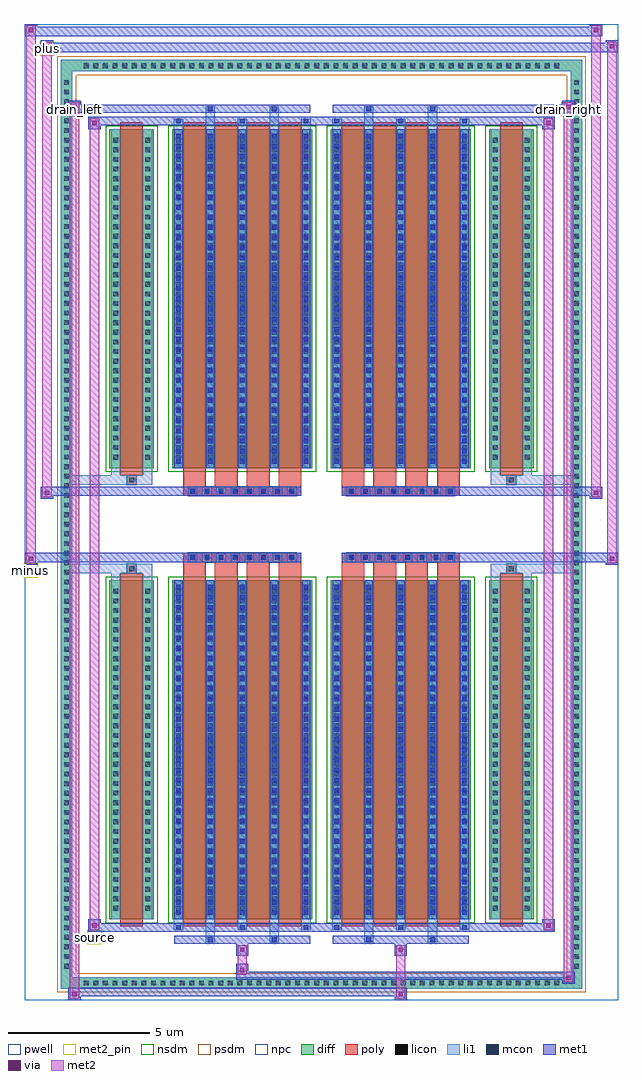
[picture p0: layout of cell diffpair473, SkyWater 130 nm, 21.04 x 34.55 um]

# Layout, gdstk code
import gdstk
lib = gdstk.Library(unit=1e-6, precision=5e-09)
def R(c, l, rs):  # rectangles x0, y0, x1, y1
    for r in rs: c.add(gdstk.rectangle(r[:2], r[2:], *l))
def A(c, l, x, y, w, h, nx, ny, dx, dy):  # array of equal rectangles
    R(c, l, [(x+i*dx, y+j*dy, x+i*dx+w, y+j*dy+h) for i in range(nx) for j in range(ny)])
def P(c, l, *ps):  # polygons
    for p in ps: c.add(gdstk.Polygon(p, *l))
pwell = (64, 44)
diff = (65, 20)
poly = (66, 20)
licon = (66, 44)
li1 = (67, 20)
mcon = (67, 44)
met1 = (68, 20)
via = (68, 44)
met2_pin = (69, 16)
met2 = (69, 20)
nsdm = (93, 44)
psdm = (94, 20)
npc = (95, 20)

diffpair473 = lib.new_cell('diffpair473')
R(diffpair473, pwell, [(-10.5,-16.84,10.5,17.71), (-7.82,-15.03,-0.01,-0.805), (0.01,-15.03,7.82,-0.805), (-7.82,0.805,-0.01,15.03), (0.01,0.805,7.82,15.03)])
A(diffpair473, diff, -8.535, -16.44, 0.41, 0.41, 50, 2, 0.34, 32.47)
A(diffpair473, diff, -9.23, -15.845, 0.41, 0.41, 1, 93, 0, 0.34)
A(diffpair473, diff, 8.82, -15.845, 0.41, 0.41, 1, 93, 0, 0.34)
R(diffpair473, diff, [(-8.535,-16.44,8.535,-16.03), (-9.23,-15.845,-8.82,15.845), (8.82,-15.845,9.23,15.845), (-7.51,-13.985,-5.93,-1.985), (-5.29,-13.985,-0.32,-1.985), (0.32,-13.985,5.29,-1.985), (5.93,-13.985,7.51,-1.985), (-7.51,1.985,-5.93,13.985), (-5.29,1.985,-0.32,13.985), (0.32,1.985,5.29,13.985), (5.93,1.985,7.51,13.985), (-8.535,16.03,8.535,16.44)])
P(diffpair473, diff, [(9.23,16.44),(-9.23,16.44),(-9.23,-16.03),(-8.82,-16.03),(-8.82,16.03),(8.82,16.03),(8.82,-16.03),(-8.82,-16.03),(-9.23,-16.03),(-9.23,-16.44),(9.23,-16.44)])
A(diffpair473, poly, -4.9, -14.235, 0.8, 12.5, 4, 2, 1.13, 15.97)
A(diffpair473, poly, 0.71, -14.235, 0.8, 12.5, 4, 2, 1.13, 15.97)
A(diffpair473, poly, -4.9, -1.735, 0.8, 0.4, 4, 2, 1.13, 3.07)
A(diffpair473, poly, 0.71, -1.735, 0.8, 0.4, 4, 2, 1.13, 3.07)
A(diffpair473, poly, -4.72, -1.335, 0.33, 0.33, 8, 2, 0.5, 2.34)
A(diffpair473, poly, 0.89, -1.335, 0.33, 0.33, 8, 2, 0.5, 2.34)
R(diffpair473, poly, [(-7.12,-14.235,-6.32,-1.735), (6.32,-14.235,7.12,-1.735), (-6.885,-1.735,-6.555,-1.405), (-6.885,-1.735,-6.555,-1.405), (6.555,-1.735,6.885,-1.405), (6.555,-1.735,6.885,-1.405), (-4.9,-1.335,-0.71,-1.005), (0.71,-1.335,4.9,-1.005), (-4.9,1.005,-0.71,1.335), (0.71,1.005,4.9,1.335), (-6.885,1.405,-6.555,1.735), (-6.885,1.405,-6.555,1.735), (6.555,1.405,6.885,1.735), (6.555,1.405,6.885,1.735), (-7.12,1.735,-6.32,14.235), (6.32,1.735,7.12,14.235)])
A(diffpair473, licon, -8.415, -16.32, 0.17, 0.17, 50, 2, 0.34, 32.47)
A(diffpair473, licon, -9.11, -15.725, 0.17, 0.17, 1, 93, 0, 0.34)
A(diffpair473, licon, 8.94, -15.725, 0.17, 0.17, 1, 93, 0, 0.34)
A(diffpair473, licon, -7.37, -13.68, 0.17, 0.17, 1, 34, 0, 0.34)
A(diffpair473, licon, -6.24, -13.68, 0.17, 0.17, 1, 34, 0, 0.34)
A(diffpair473, licon, -5.15, -13.68, 0.17, 0.17, 5, 34, 1.13, 0.34)
A(diffpair473, licon, 0.46, -13.68, 0.17, 0.17, 5, 34, 1.13, 0.34)
A(diffpair473, licon, 6.07, -13.68, 0.17, 0.17, 1, 34, 0, 0.34)
A(diffpair473, licon, 7.2, -13.68, 0.17, 0.17, 1, 34, 0, 0.34)
A(diffpair473, licon, -4.64, -1.255, 0.17, 0.17, 8, 2, 0.5, 2.34)
A(diffpair473, licon, 0.97, -1.255, 0.17, 0.17, 8, 2, 0.5, 2.34)
A(diffpair473, licon, -7.37, 2.29, 0.17, 0.17, 1, 34, 0, 0.34)
A(diffpair473, licon, -6.24, 2.29, 0.17, 0.17, 1, 34, 0, 0.34)
A(diffpair473, licon, -5.15, 2.29, 0.17, 0.17, 5, 34, 1.13, 0.34)
A(diffpair473, licon, 0.46, 2.29, 0.17, 0.17, 5, 34, 1.13, 0.34)
A(diffpair473, licon, 6.07, 2.29, 0.17, 0.17, 1, 34, 0, 0.34)
A(diffpair473, licon, 7.2, 2.29, 0.17, 0.17, 1, 34, 0, 0.34)
R(diffpair473, licon, [(-6.805,-1.655,-6.635,-1.485), (6.635,-1.655,6.805,-1.485), (-6.805,1.485,-6.635,1.655), (6.635,1.485,6.805,1.655)])
A(diffpair473, li1, -8.495, -16.4, 0.33, 0.33, 50, 2, 0.34, 32.47)
A(diffpair473, li1, -9.19, -15.805, 0.33, 0.33, 1, 93, 0, 0.34)
A(diffpair473, li1, 8.86, -15.805, 0.33, 0.33, 1, 93, 0, 0.34)
A(diffpair473, li1, -5.23, -14.36, 0.33, 0.375, 3, 2, 2.26, 28.345)
A(diffpair473, li1, -5.15, -14.36, 0.17, 0.17, 3, 2, 2.26, 28.55)
A(diffpair473, li1, 0.38, -14.36, 0.33, 0.375, 3, 2, 2.26, 28.345)
A(diffpair473, li1, 0.46, -14.36, 0.17, 0.17, 3, 2, 2.26, 28.55)
A(diffpair473, li1, -5.23, -13.985, 0.33, 12, 5, 2, 1.13, 15.97)
A(diffpair473, li1, 0.38, -13.985, 0.33, 12, 5, 2, 1.13, 15.97)
A(diffpair473, li1, -5.15, -13.83, 0.17, 0.17, 5, 33, 1.13, 0.36)
A(diffpair473, li1, -5.15, -13.83, 0.17, 11.69, 5, 2, 1.13, 15.97)
A(diffpair473, li1, 0.46, -13.83, 0.17, 0.17, 5, 33, 1.13, 0.36)
A(diffpair473, li1, 0.46, -13.83, 0.17, 11.69, 5, 2, 1.13, 15.97)
A(diffpair473, li1, -7.45, -13.76, 0.33, 0.33, 1, 34, 0, 0.34)
A(diffpair473, li1, -6.32, -13.76, 0.33, 0.33, 1, 34, 0, 0.34)
A(diffpair473, li1, -5.23, -13.76, 0.33, 0.33, 5, 34, 1.13, 0.34)
A(diffpair473, li1, 0.38, -13.76, 0.33, 0.33, 5, 34, 1.13, 0.34)
A(diffpair473, li1, 5.99, -13.76, 0.33, 0.33, 1, 34, 0, 0.34)
A(diffpair473, li1, 7.12, -13.76, 0.33, 0.33, 1, 34, 0, 0.34)
A(diffpair473, li1, -4.72, -1.335, 0.33, 0.33, 8, 2, 0.5, 2.34)
A(diffpair473, li1, 0.89, -1.335, 0.33, 0.33, 8, 2, 0.5, 2.34)
A(diffpair473, li1, -5.15, 2.14, 0.17, 0.17, 5, 33, 1.13, 0.36)
A(diffpair473, li1, 0.46, 2.14, 0.17, 0.17, 5, 33, 1.13, 0.36)
A(diffpair473, li1, -7.45, 2.21, 0.33, 0.33, 1, 34, 0, 0.34)
A(diffpair473, li1, -6.32, 2.21, 0.33, 0.33, 1, 34, 0, 0.34)
A(diffpair473, li1, -5.23, 2.21, 0.33, 0.33, 5, 34, 1.13, 0.34)
A(diffpair473, li1, 0.38, 2.21, 0.33, 0.33, 5, 34, 1.13, 0.34)
A(diffpair473, li1, 5.99, 2.21, 0.33, 0.33, 1, 34, 0, 0.34)
A(diffpair473, li1, 7.12, 2.21, 0.33, 0.33, 1, 34, 0, 0.34)
R(diffpair473, li1, [(-9.23,-16.44,-8.82,-16.03), (-9.23,-16.44,-8.82,-16.03), (-8.82,-16.44,8.82,-16.03), (8.82,-16.44,9.23,-16.03), (8.82,-16.44,9.23,-16.03), (-9.23,-16.03,-8.82,16.03), (8.82,-16.03,9.23,16.03), (-4.1,-14.79,-3.77,-13.985), (-4.02,-14.79,-3.85,-14.62), (-1.84,-14.79,-1.51,-13.985), (-1.76,-14.79,-1.59,-14.62), (1.51,-14.79,1.84,-13.985), (1.59,-14.79,1.76,-14.62), (3.77,-14.79,4.1,-13.985), (3.85,-14.79,4.02,-14.62), (-7.45,-13.985,-7.12,-1.985), (-6.32,-13.985,-5.99,-1.985), (5.99,-13.985,6.32,-1.985), (7.12,-13.985,7.45,-1.985), (-7.45,-1.985,-7.12,-1.405), (-6.32,-1.985,-5.99,-1.405), (5.99,-1.985,6.32,-1.405), (7.12,-1.985,7.45,-1.405), (-9.23,-1.735,-6.885,-1.405), (-7.45,-1.735,-6.885,-1.405), (-6.885,-1.735,-6.555,-1.405), (-6.555,-1.735,-5.99,-1.405), (5.99,-1.735,6.555,-1.405), (6.555,-1.735,6.885,-1.405), (6.555,-1.735,9.23,-1.405), (6.885,-1.735,7.45,-1.405), (-9.23,1.405,-6.885,1.735), (-7.45,1.405,-6.885,1.735), (-7.45,1.405,-7.12,1.985), (-6.885,1.405,-6.555,1.735), (-6.555,1.405,-5.99,1.735), (-6.32,1.405,-5.99,1.985), (5.99,1.405,6.555,1.735), (5.99,1.405,6.32,1.985), (6.555,1.405,6.885,1.735), (6.555,1.405,9.23,1.735), (6.885,1.405,7.45,1.735), (7.12,1.405,7.45,1.985), (-7.45,1.985,-7.12,13.985), (-6.32,1.985,-5.99,13.985), (5.99,1.985,6.32,13.985), (7.12,1.985,7.45,13.985), (-4.1,13.985,-3.77,14.79), (-1.84,13.985,-1.51,14.79), (1.51,13.985,1.84,14.79), (3.77,13.985,4.1,14.79), (-4.02,14.62,-3.85,14.79), (-1.76,14.62,-1.59,14.79), (1.59,14.62,1.76,14.79), (3.85,14.62,4.02,14.79), (-9.23,16.03,-8.82,16.44), (-9.23,16.03,-8.82,16.44), (-8.82,16.03,8.82,16.44), (8.82,16.03,9.23,16.44), (8.82,16.03,9.23,16.44)])
A(diffpair473, mcon, -5.15, -14.36, 0.17, 0.17, 3, 2, 2.26, 28.55)
A(diffpair473, mcon, 0.46, -14.36, 0.17, 0.17, 3, 2, 2.26, 28.55)
A(diffpair473, mcon, -5.15, -13.83, 0.17, 0.17, 5, 33, 1.13, 0.36)
A(diffpair473, mcon, 0.46, -13.83, 0.17, 0.17, 5, 33, 1.13, 0.36)
A(diffpair473, mcon, -4.64, -1.255, 0.17, 0.17, 8, 2, 0.5, 2.34)
A(diffpair473, mcon, 0.97, -1.255, 0.17, 0.17, 8, 2, 0.5, 2.34)
A(diffpair473, mcon, -5.15, 2.14, 0.17, 0.17, 5, 33, 1.13, 0.36)
A(diffpair473, mcon, 0.46, 2.14, 0.17, 0.17, 5, 33, 1.13, 0.36)
R(diffpair473, mcon, [(-4.02,-14.79,-3.85,-14.62), (-1.76,-14.79,-1.59,-14.62), (1.59,-14.79,1.76,-14.62), (3.85,-14.79,4.02,-14.62), (-4.02,14.62,-3.85,14.79), (-1.76,14.62,-1.59,14.79), (1.59,14.62,1.76,14.79), (3.85,14.62,4.02,14.79)])
A(diffpair473, met1, -5.21, -14.42, 0.29, 0.29, 3, 2, 2.26, 28.55)
A(diffpair473, met1, 0.4, -14.42, 0.29, 0.29, 3, 2, 2.26, 28.55)
A(diffpair473, met1, -5.21, -13.985, 0.29, 12, 5, 2, 1.13, 15.97)
A(diffpair473, met1, 0.4, -13.985, 0.29, 12, 5, 2, 1.13, 15.97)
A(diffpair473, met1, -5.21, -13.89, 0.29, 0.29, 5, 33, 1.13, 0.36)
A(diffpair473, met1, 0.4, -13.89, 0.29, 0.29, 5, 33, 1.13, 0.36)
A(diffpair473, met1, -4.7, -1.315, 0.29, 0.29, 8, 2, 0.5, 2.34)
A(diffpair473, met1, 0.91, -1.315, 0.29, 0.29, 8, 2, 0.5, 2.34)
A(diffpair473, met1, -5.21, 2.08, 0.29, 0.29, 5, 33, 1.13, 0.36)
A(diffpair473, met1, 0.4, 2.08, 0.29, 0.29, 5, 33, 1.13, 0.36)
R(diffpair473, met1, [(-8.96,-16.84,-8.53,-16.41), (2.59,-16.84,3.02,-16.41), (-8.96,-16.7,3.02,-16.41), (8.53,-16.27,8.96,-15.84), (-3.02,-16.13,8.96,-15.84), (-3.02,-15.99,-2.59,-15.56), (-3.02,-15.28,-2.59,-14.85), (2.59,-15.28,3.02,-14.85), (-5.21,-14.85,-0.4,-14.56), (-4.08,-14.85,-3.79,-14.56), (-1.82,-14.85,-1.53,-14.56), (0.4,-14.85,5.21,-14.56), (1.53,-14.85,1.82,-14.56), (3.79,-14.85,4.08,-14.56), (-8.25,-14.42,-7.82,-13.99), (-8.25,-14.42,-5.21,-14.13), (-5.21,-14.42,-0.4,-14.13), (-0.4,-14.42,0.4,-14.13), (0.4,-14.42,5.21,-14.13), (5.21,-14.42,8.25,-14.13), (7.82,-14.42,8.25,-13.99), (-10.5,-1.435,-10.07,-1.005), (10.07,-1.435,10.5,-1.005), (-10.5,-1.335,-0.71,-1.005), (-4.9,-1.335,-0.71,-1.005), (0.71,-1.335,4.9,-1.005), (0.71,-1.335,10.5,-1.005), (-9.93,0.905,-9.5,1.335), (9.5,0.905,9.93,1.335), (-9.93,1.005,-4.9,1.335), (-4.9,1.005,-0.71,1.335), (0.71,1.005,4.9,1.335), (4.9,1.005,9.93,1.335), (-8.25,13.99,-7.82,14.42), (7.82,13.99,8.25,14.42), (-8.25,14.13,-5.21,14.42), (-5.21,14.13,-0.4,14.42), (-0.4,14.13,0.4,14.42), (0.4,14.13,5.21,14.42), (5.21,14.13,8.25,14.42), (-8.96,14.56,-8.53,14.99), (-8.96,14.56,-5.21,14.85), (-5.21,14.56,-0.4,14.85), (-4.08,14.56,-3.79,14.85), (-1.82,14.56,-1.53,14.85), (0.4,14.56,5.21,14.85), (1.53,14.56,1.82,14.85), (3.79,14.56,4.08,14.85), (5.21,14.56,8.96,14.85), (8.53,14.56,8.96,14.99), (-9.93,16.71,-9.5,17.14), (-9.93,16.71,-7.82,17.04), (-7.82,16.71,7.82,17.04), (7.82,16.71,10.5,17.04), (10.07,16.71,10.5,17.14), (-10.5,17.28,-10.07,17.71), (-10.5,17.28,-7.82,17.61), (-7.82,17.28,7.82,17.61), (7.82,17.28,9.93,17.61), (9.5,17.28,9.93,17.71)])
R(diffpair473, via, [(-8.82,-16.7,-8.67,-16.55), (2.73,-16.7,2.88,-16.55), (8.67,-16.13,8.82,-15.98), (-2.88,-15.85,-2.73,-15.7), (-2.88,-15.14,-2.73,-14.99), (2.73,-15.14,2.88,-14.99), (-8.11,-14.28,-7.96,-14.13), (7.96,-14.28,8.11,-14.13), (-10.36,-1.295,-10.21,-1.145), (10.21,-1.295,10.36,-1.145), (-9.79,1.045,-9.64,1.195), (9.64,1.045,9.79,1.195), (-8.11,14.13,-7.96,14.28), (7.96,14.13,8.11,14.28), (-8.82,14.7,-8.67,14.85), (8.67,14.7,8.82,14.85), (-9.79,16.85,-9.64,17), (10.21,16.85,10.36,17), (-10.36,17.42,-10.21,17.57), (9.64,17.42,9.79,17.57)])
R(diffpair473, met2_pin, [(-8.285,-14.87,-7.785,-14.37), (-10.535,-1.885,-10.035,-1.385), (-8.995,14.44,-8.495,14.94), (8.495,14.44,8.995,14.94), (-9.965,16.59,-9.465,17.09)])
R(diffpair473, met2, [(-8.91,-16.79,-8.58,-16.46), (-8.91,-16.79,-8.58,14.94), (2.64,-16.79,2.97,-16.46), (2.64,-16.46,2.97,-15.23), (8.58,-16.22,8.91,-15.89), (8.58,-16.22,8.91,14.94), (-2.97,-15.94,-2.64,-15.61), (-2.97,-15.61,-2.64,-15.23), (-2.97,-15.23,-2.64,-14.9), (2.64,-15.23,2.97,-14.9), (-8.2,-14.37,-7.87,-14.04), (-8.2,-14.37,-7.87,14.37), (7.87,-14.37,8.2,-14.04), (7.87,-14.37,8.2,14.37), (-10.45,-1.385,-10.12,-1.055), (-10.45,-1.385,-10.12,17.66), (10.12,-1.385,10.45,-1.055), (10.12,-1.385,10.45,17.09), (-9.88,0.955,-9.55,1.285), (-9.88,0.955,-9.55,17.09), (9.55,0.955,9.88,1.285), (9.55,0.955,9.88,17.66), (-8.2,14.04,-7.87,14.37), (7.87,14.04,8.2,14.37), (-8.91,14.61,-8.58,14.94), (8.58,14.61,8.91,14.94), (-9.88,16.76,-9.55,17.09), (10.12,16.76,10.45,17.09), (-10.45,17.33,-10.12,17.66), (9.55,17.33,9.88,17.66)])
P(diffpair473, met2, [(10.45,-1.385),(10.45,-1.385),(10.45,-1.055),(10.45,-1.055)],
  [(10.45,16.76),(10.45,16.76),(10.45,17.09),(10.45,17.09)],
  [(-10.12,-1.385),(-10.12,-1.385),(-10.12,-1.055),(-10.12,-1.055)],
  [(-10.12,17.33),(-10.12,17.33),(-10.12,17.66),(-10.12,17.66)],
  [(9.88,0.955),(9.88,0.955),(9.88,1.285),(9.88,1.285)],
  [(9.88,17.33),(9.88,17.33),(9.88,17.66),(9.88,17.66)],
  [(-9.55,0.955),(-9.55,0.955),(-9.55,1.285),(-9.55,1.285)],
  [(-9.55,16.76),(-9.55,16.76),(-9.55,17.09),(-9.55,17.09)],
  [(-8.58,-16.79),(-8.58,-16.79),(-8.58,-16.46),(-8.58,-16.46)],
  [(-8.58,14.61),(-8.58,14.61),(-8.58,14.94),(-8.58,14.94)],
  [(8.91,-16.22),(8.91,-16.22),(8.91,-15.89),(8.91,-15.89)],
  [(8.91,14.61),(8.91,14.61),(8.91,14.94),(8.91,14.94)],
  [(-7.87,-14.37),(-7.87,-14.37),(-7.87,-14.04),(-7.87,-14.04)],
  [(-7.87,14.04),(-7.87,14.04),(-7.87,14.37),(-7.87,14.37)],
  [(8.2,-14.37),(8.2,-14.37),(8.2,-14.04),(8.2,-14.04)],
  [(8.2,14.04),(8.2,14.04),(8.2,14.37),(8.2,14.37)])
R(diffpair473, nsdm, [(-7.64,-14.115,-5.8,-1.855), (-5.42,-14.115,-0.19,-1.855), (0.19,-14.115,5.42,-1.855), (5.8,-14.115,7.64,-1.855), (-7.64,1.855,-5.8,14.115), (-5.42,1.855,-0.19,14.115), (0.19,1.855,5.42,14.115), (5.8,1.855,7.64,14.115)])
P(diffpair473, psdm, [(9.36,16.57),(-9.36,16.57),(-9.36,-15.9),(-8.69,-15.9),(-8.69,15.9),(8.69,15.9),(8.69,-15.9),(-8.69,-15.9),(-9.36,-15.9),(-9.36,-16.57),(9.36,-16.57)])
A(diffpair473, npc, -4.74, -1.355, 0.37, 0.37, 8, 2, 0.5, 2.34)
A(diffpair473, npc, 0.87, -1.355, 0.37, 0.37, 8, 2, 0.5, 2.34)
R(diffpair473, npc, [(-6.905,-1.755,-6.535,-1.385), (6.535,-1.755,6.905,-1.385), (-4.74,-1.355,-3.87,-0.985), (-4.74,-1.355,-3.87,-0.985), (-4.24,-1.355,-3.37,-0.985), (-4.24,-1.355,-3.37,-0.985), (-3.74,-1.355,-2.87,-0.985), (-3.74,-1.355,-2.87,-0.985), (-3.24,-1.355,-2.37,-0.985), (-3.24,-1.355,-2.37,-0.985), (-2.74,-1.355,-1.87,-0.985), (-2.74,-1.355,-1.87,-0.985), (-2.24,-1.355,-1.37,-0.985), (-2.24,-1.355,-1.37,-0.985), (-1.74,-1.355,-0.87,-0.985), (-1.74,-1.355,-0.87,-0.985), (0.87,-1.355,1.74,-0.985), (0.87,-1.355,1.74,-0.985), (1.37,-1.355,2.24,-0.985), (1.37,-1.355,2.24,-0.985), (1.87,-1.355,2.74,-0.985), (1.87,-1.355,2.74,-0.985), (2.37,-1.355,3.24,-0.985), (2.37,-1.355,3.24,-0.985), (2.87,-1.355,3.74,-0.985), (2.87,-1.355,3.74,-0.985), (3.37,-1.355,4.24,-0.985), (3.37,-1.355,4.24,-0.985), (3.87,-1.355,4.74,-0.985), (3.87,-1.355,4.74,-0.985), (-4.74,0.985,-3.87,1.355), (-4.74,0.985,-3.87,1.355), (-4.24,0.985,-3.37,1.355), (-4.24,0.985,-3.37,1.355), (-3.74,0.985,-2.87,1.355), (-3.74,0.985,-2.87,1.355), (-3.24,0.985,-2.37,1.355), (-3.24,0.985,-2.37,1.355), (-2.74,0.985,-1.87,1.355), (-2.74,0.985,-1.87,1.355), (-2.24,0.985,-1.37,1.355), (-2.24,0.985,-1.37,1.355), (-1.74,0.985,-0.87,1.355), (-1.74,0.985,-0.87,1.355), (0.87,0.985,1.74,1.355), (0.87,0.985,1.74,1.355), (1.37,0.985,2.24,1.355), (1.37,0.985,2.24,1.355), (1.87,0.985,2.74,1.355), (1.87,0.985,2.74,1.355), (2.37,0.985,3.24,1.355), (2.37,0.985,3.24,1.355), (2.87,0.985,3.74,1.355), (2.87,0.985,3.74,1.355), (3.37,0.985,4.24,1.355), (3.37,0.985,4.24,1.355), (3.87,0.985,4.74,1.355), (3.87,0.985,4.74,1.355), (-6.905,1.385,-6.535,1.755), (6.535,1.385,6.905,1.755)])
diffpair473.add(gdstk.Label('minus', (-10.285,-1.635), layer=69, texttype=5))
diffpair473.add(gdstk.Label('drain_right', (8.745,14.69), layer=69, texttype=5))
diffpair473.add(gdstk.Label('drain_left', (-8.745,14.69), layer=69, texttype=5))
diffpair473.add(gdstk.Label('source', (-8.035,-14.62), layer=69, texttype=5))
diffpair473.add(gdstk.Label('plus', (-9.715,16.84), layer=69, texttype=5))

lib.write_gds('diffpair473.gds')
